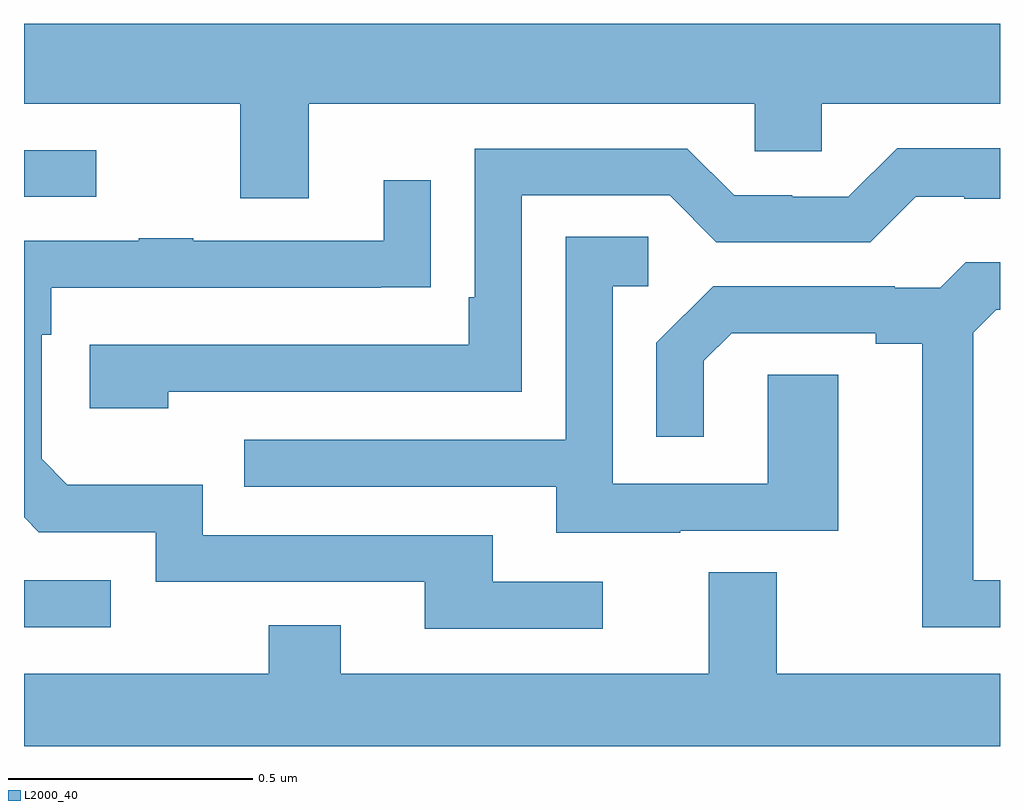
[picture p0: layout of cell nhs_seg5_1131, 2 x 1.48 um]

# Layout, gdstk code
import gdstk
lib = gdstk.Library(unit=1e-6, precision=1e-09)
def R(c, l, rs):  # rectangles x0, y0, x1, y1
    for r in rs: c.add(gdstk.rectangle(r[:2], r[2:], *l))
def P(c, l, *ps):  # polygons
    for p in ps: c.add(gdstk.Polygon(p, *l))
L2000_40 = (2000, 40)

nhs_seg5_1131 = lib.new_cell('nhs_seg5_1131')
R(nhs_seg5_1131, L2000_40, [(126,833.043,126.178,833.139), (126,833.925,126.148,834.021)])
P(nhs_seg5_1131, L2000_40, [(126.583,834.116),(127.497,834.116),(127.497,834.018),(127.635,834.018),(127.635,834.116),(128,834.116),(128,834.28),(126,834.28),(126,834.116),(126.443,834.116),(126.443,833.922),(126.583,833.922)],
  [(126.296,833.526),(127.02,833.526),(127.02,833.928),(127.323,833.928),(127.419,833.832),(127.734,833.832),(127.827,833.925),(127.927,833.925),(127.927,833.921),(128,833.921),(128,834.025),(127.789,834.025),(127.689,833.925),(127.574,833.925),(127.574,833.928),(127.455,833.928),(127.359,834.024),(126.924,834.024),(126.924,833.719),(126.911,833.719),(126.911,833.622),(126.135,833.622),(126.135,833.492),(126.296,833.492)],
  [(127.186,833.136),(126.961,833.136),(126.961,833.232),(126.366,833.232),(126.366,833.335),(126.089,833.335),(126.036,833.388),(126.036,833.642),(126.056,833.642),(126.056,833.739),(126.731,833.739),(126.731,833.74),(126.833,833.74),(126.833,833.959),(126.737,833.959),(126.737,833.835),(126.347,833.835),(126.347,833.84),(126.235,833.84),(126.235,833.835),(126,833.835),(126,833.268),(126.03,833.238),(126.27,833.238),(126.27,833.136),(126.821,833.136),(126.821,833.04),(127.186,833.04)],
  [(127.345,833.241),(127.669,833.241),(127.669,833.561),(127.524,833.561),(127.524,833.337),(127.206,833.337),(127.206,833.742),(127.279,833.742),(127.279,833.843),(127.11,833.843),(127.11,833.427),(126.451,833.427),(126.451,833.331),(127.091,833.331),(127.091,833.237),(127.345,833.237)],
  [(128,833.139),(127.945,833.139),(127.945,833.647),(127.992,833.694),(128,833.694),(128,833.791),(127.93,833.791),(127.878,833.739),(127.784,833.739),(127.784,833.742),(127.412,833.742),(127.296,833.626),(127.296,833.433),(127.393,833.433),(127.393,833.589),(127.45,833.646),(127.745,833.646),(127.745,833.624),(127.841,833.624),(127.841,833.043),(128,833.043)],
  [(128,832.948),(127.543,832.948),(127.543,833.156),(127.403,833.156),(127.403,832.948),(126.649,832.948),(126.649,833.047),(126.502,833.047),(126.502,832.948),(126,832.948),(126,832.799),(128,832.799)])

lib.write_gds('nhs_seg5_1131.gds')
